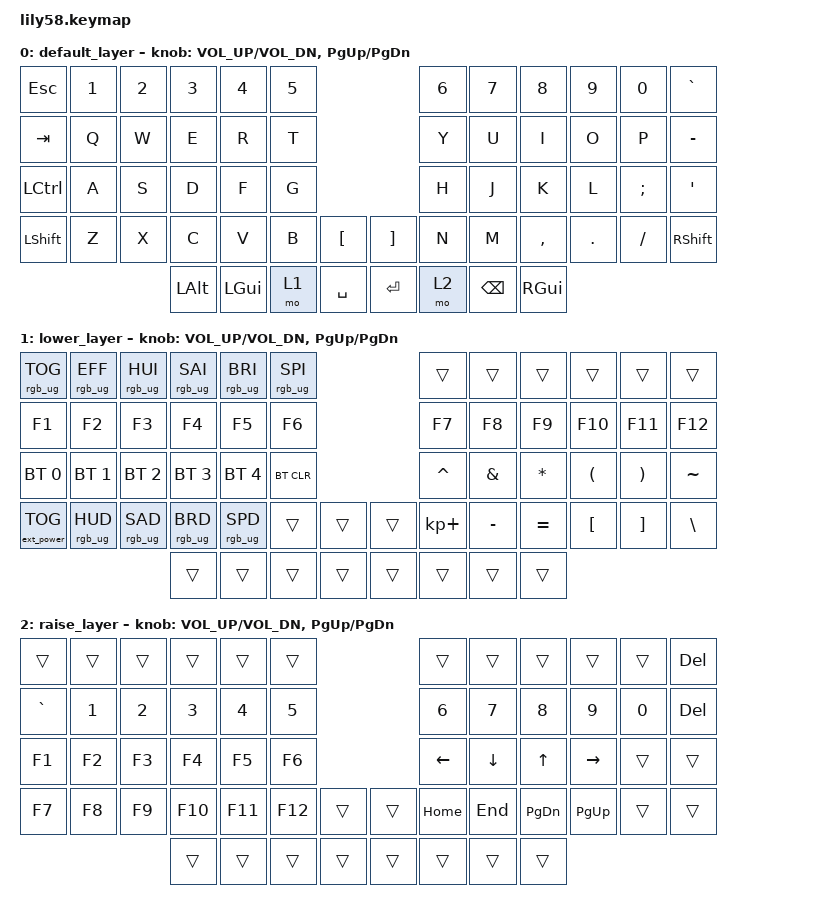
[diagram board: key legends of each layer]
/*
 * Lily58 Keymap met RGB controls op LOWER layer
 * RGB gaat automatisch aan via de config file
 * Place this in config/lily58.keymap
 */

#include <behaviors.dtsi>
#include <dt-bindings/zmk/keys.h>
#include <dt-bindings/zmk/bt.h>
#include <dt-bindings/zmk/rgb.h>
#include <dt-bindings/zmk/ext_power.h>
#include <dt-bindings/zmk/outputs.h>

/ {
    keymap {
        compatible = "zmk,keymap";

        default_layer {
// ------------------------------------------------------------------------------------------------------------
// |  ESC  |  1  |  2  |  3   |  4   |  5   |                   |  6   |  7    |  8    |  9   |   0   |   `   |
// |  TAB  |  Q  |  W  |  E   |  R   |  T   |                   |  Y   |  U    |  I    |  O   |   P   |   -   |
// |  CTRL |  A  |  S  |  D   |  F   |  G   |                   |  H   |  J    |  K    |  L   |   ;   |   '   |
// | SHIFT |  Z  |  X  |  C   |  V   |  B   |   "["  |  |  "]"  |  N   |  M    |  ,    |  .   |   /   | SHIFT |
//                     | ALT  | GUI  | LOWER|  SPACE |  | ENTER | RAISE| BSPC  | GUI   |
            bindings = <
&kp ESC   &kp N1 &kp N2 &kp N3   &kp N4   &kp N5                     &kp N6 &kp N7   &kp N8    &kp N9  &kp N0   &kp GRAVE
&kp TAB   &kp Q  &kp W  &kp E    &kp R    &kp T                      &kp Y  &kp U    &kp I     &kp O   &kp P    &kp MINUS
&kp LCTRL &kp A  &kp S  &kp D    &kp F    &kp G                      &kp H  &kp J    &kp K     &kp L   &kp SEMI &kp SQT
&kp LSHFT &kp Z  &kp X  &kp C    &kp V    &kp B  &kp LBKT   &kp RBKT &kp N  &kp M    &kp COMMA &kp DOT &kp FSLH &kp RSHFT
                        &kp LALT &kp LGUI &mo 1  &kp SPACE  &kp RET  &mo 2  &kp BSPC &kp RGUI
            >;

            sensor-bindings = <&inc_dec_kp C_VOL_UP C_VOL_DN &inc_dec_kp PG_UP PG_DN>;
        };

        lower_layer {
// ------------------------------------------------------------------------------------------------------------
// |RGB TOG|RGB EF|RGB HU+|RGB SA+|RGB BR+|RGB SP+|               |      |       |       |       |       |       |
// |  F1   |  F2  |  F3  |  F4   |  F5   |  F6  |                |  F7  |  F8   |  F9   |  F10  |  F11  |  F12  |
// |  BT0  | BT1  | BT2  |  BT3  |  BT4  | BTCLR|                |  ^   |  &    |  *    |  (    |   )   |   ~   |
// | POWER |RGB HU-|RGB SA-|RGB BR-|RGB SP-|      |      |  |     |  +   |  -    |  =    |  [    |   ]   |   \   |
//                       |       |       |      |      |  |      |      |       |       |
            bindings = <
&rgb_ug RGB_TOG   &rgb_ug RGB_EFF &rgb_ug RGB_HUI &rgb_ug RGB_SAI &rgb_ug RGB_BRI &rgb_ug RGB_SPI                  &trans          &trans          &trans          &trans          &trans          &trans
&kp F1            &kp F2          &kp F3          &kp F4          &kp F5          &kp F6                           &kp F7          &kp F8          &kp F9          &kp F10         &kp F11         &kp F12
&bt BT_SEL 0      &bt BT_SEL 1    &bt BT_SEL 2    &bt BT_SEL 3    &bt BT_SEL 4    &bt BT_CLR                       &kp CARET       &kp AMPS        &kp STAR        &kp LPAR        &kp RPAR        &kp TILDE
&ext_power EP_TOG &rgb_ug RGB_HUD &rgb_ug RGB_SAD &rgb_ug RGB_BRD &rgb_ug RGB_SPD &trans          &trans   &trans  &kp KP_PLUS     &kp MINUS       &kp EQUAL       &kp LBKT        &kp RBKT        &kp BSLH
                                                  &trans          &trans          &trans          &trans   &trans  &trans          &trans          &trans
            >;

            sensor-bindings = <&inc_dec_kp C_VOL_UP C_VOL_DN &inc_dec_kp PG_UP PG_DN>;
        };

        raise_layer {
// ------------------------------------------------------------------------------------------------------------
// |       |      |      |       |       |      |                |      |       |       |       |       |       |
// |   `   |  1   |  2   |  3    |  4    |  5   |                |  6   |   7   |   8   |  9    |   0   |  DEL  |
// |  F1   |  F2  |  F3  |  F4   |  F5   |  F6  |                | LEFT | DOWN  |  UP   | RIGHT |       |       |
// |  F7   |  F8  |  F9  |  F10  |  F11  |  F12 |      |  |      | HOME | END   | PGDN  | PGUP  |       |       |
//                       |       |       |      |      |  |      |      |       |       |
            bindings = <
&trans    &trans &trans &trans  &trans  &trans                       &trans    &trans   &trans   &trans    &trans  &kp DEL
&kp GRAVE &kp N1 &kp N2 &kp N3  &kp N4  &kp N5                       &kp N6    &kp N7   &kp N8   &kp N9    &kp N0  &kp DEL
&kp F1    &kp F2 &kp F3 &kp F4  &kp F5  &kp F6                       &kp LEFT  &kp DOWN &kp UP   &kp RIGHT &trans  &trans
&kp F7    &kp F8 &kp F9 &kp F10 &kp F11 &kp F12   &trans   &trans    &kp HOME  &kp END  &kp PG_DN &kp PG_UP &trans  &trans
                        &trans  &trans  &trans    &trans   &trans    &trans    &trans   &trans
            >;

            sensor-bindings = <&inc_dec_kp C_VOL_UP C_VOL_DN &inc_dec_kp PG_UP PG_DN>;
        };
    };
};
